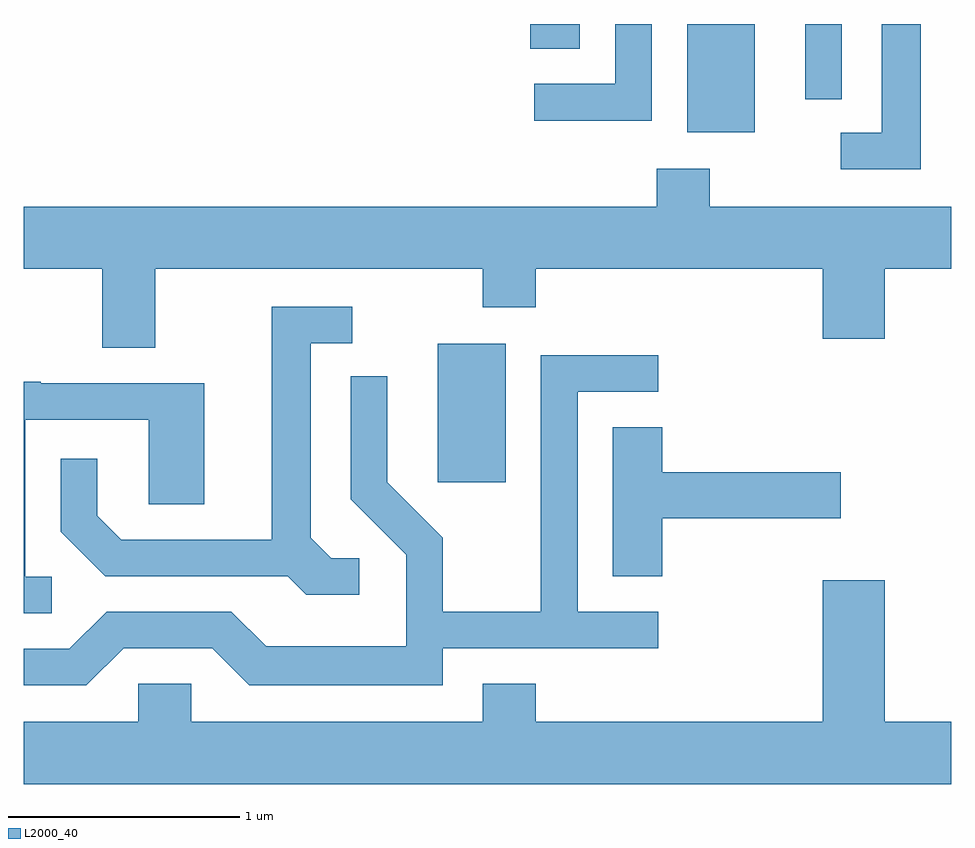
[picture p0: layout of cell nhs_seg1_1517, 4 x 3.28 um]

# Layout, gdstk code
import gdstk
lib = gdstk.Library(unit=1e-6, precision=1e-09)
def R(c, l, rs):  # rectangles x0, y0, x1, y1
    for r in rs: c.add(gdstk.rectangle(r[:2], r[2:], *l))
def P(c, l, *ps):  # polygons
    for p in ps: c.add(gdstk.Polygon(p, *l))
L2000_40 = (2000, 40)

nhs_seg1_1517 = lib.new_cell('nhs_seg1_1517')
R(nhs_seg1_1517, L2000_40, [(233.396,929.736,233.689,930.334), (234.471,931.246,234.764,931.712), (234.981,931.388,235.139,931.712), (233.796,931.606,234.009,931.712)])
P(nhs_seg1_1517, L2000_40, [(235.479,931.712),(235.311,931.712),(235.311,931.244),(235.133,931.244),(235.133,931.086),(235.479,931.086)],
  [(234.319,931.712),(234.161,931.712),(234.161,931.454),(233.813,931.454),(233.813,931.296),(234.319,931.296)],
  [(232.179,930.656),(233.591,930.656),(233.591,930.491),(233.819,930.491),(233.819,930.656),(235.056,930.656),(235.056,930.356),(235.324,930.356),(235.324,930.656),(235.611,930.656),(235.611,930.924),(234.569,930.924),(234.569,931.089),(234.341,931.089),(234.341,930.924),(231.611,930.924),(231.611,930.656),(231.951,930.656),(231.951,930.316),(232.179,930.316)],
  [(233.058,929.409),(232.937,929.409),(232.849,929.497),(232.849,930.336),(233.028,930.336),(233.028,930.494),(232.681,930.494),(232.681,929.489),(232.032,929.489),(231.929,929.592),(231.929,929.838),(231.771,929.838),(231.771,929.524),(231.964,929.331),(232.749,929.331),(232.829,929.251),(233.058,929.251)],
  [(232.042,929.021),(232.424,929.021),(232.584,928.861),(233.419,928.861),(233.419,929.021),(234.348,929.021),(234.348,929.179),(233.999,929.179),(233.999,930.126),(234.348,930.126),(234.348,930.284),(233.841,930.284),(233.841,929.179),(233.419,929.179),(233.419,929.497),(233.179,929.737),(233.179,930.193),(233.021,930.193),(233.021,929.664),(233.261,929.424),(233.261,929.029),(232.657,929.029),(232.507,929.179),(231.969,929.179),(231.809,929.019),(231.611,929.019),(231.611,928.861),(231.882,928.861)],
  [(231.733,929.329),(231.619,929.329),(231.619,930.006),(232.151,930.006),(232.151,929.641),(232.389,929.641),(232.389,930.164),(231.685,930.164),(231.685,930.169),(231.611,930.169),(231.611,929.171),(231.733,929.171)],
  [(234.364,929.581),(235.134,929.581),(235.134,929.779),(234.364,929.779),(234.364,929.974),(234.151,929.974),(234.151,929.331),(234.364,929.331)],
  [(235.611,928.704),(235.324,928.704),(235.324,929.314),(235.056,929.314),(235.056,928.704),(233.819,928.704),(233.819,928.869),(233.591,928.869),(233.591,928.704),(232.334,928.704),(232.334,928.869),(232.106,928.869),(232.106,928.704),(231.611,928.704),(231.611,928.436),(235.611,928.436)])

lib.write_gds('nhs_seg1_1517.gds')
